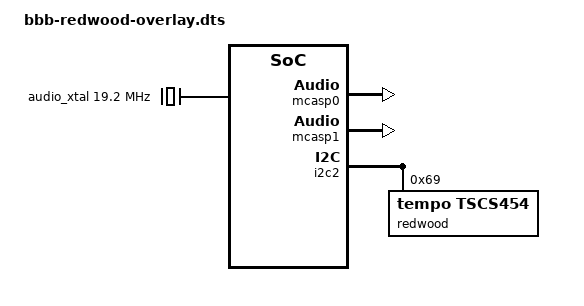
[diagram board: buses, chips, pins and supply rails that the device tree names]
// Definitions for the Tempo Semiconductor tscs454 audio codec
/dts-v1/;
/plugin/;

#include <dt-bindings/pinctrl/am33xx.h>

/ {
	compatible = "ti,beaglebone", "ti,beaglebone-black";

	fragment@0 {
		target = <&am33xx_pinmux>;
		__overlay__ {
			mcasp0_pins: mcasp0_pins {
				pinctrl-single,pins = <
					/* mcasp0_aclkx.mcasp0_aclkx (BCLK) A13,P9.31 */
					AM33XX_IOPAD(0x990, PIN_INPUT_PULLDOWN | MUX_MODE0)
					/* mcasp0_fsx.mcasp0_fsx (LRCLK) B13,P9.29 */
					AM33XX_IOPAD(0x994, PIN_INPUT_PULLDOWN | MUX_MODE0)
					/* mcasp0_ahclkr.mcasp0_axr2 (TX Data) C12,P9.28 */
					AM33XX_IOPAD(0x99c, PIN_OUTPUT_PULLDOWN | MUX_MODE2)
					/* mcasp0_axr0.mcasp0_axr0 (RX Data) D12,P9.30 */
					AM33XX_IOPAD(0x998, PIN_INPUT_PULLDOWN | MUX_MODE0)>;
			};
			
			mcasp1_pins: mcasp1_pins {
				pinctrl-single,pins = <
					/* mcasp0_aclkr.mcasp1_aclkx (BCLK) B12,P9.42 */
					AM33XX_IOPAD(0x9a0, PIN_INPUT | MUX_MODE3)
					/* mcasp0_fsr.mcasp1_fsx (LRCLK)  C13,P9.27 */
					AM33XX_IOPAD(0x9a4, PIN_INPUT | MUX_MODE3)
					/* mcasp0_ahclkx.mcasp1_axr1 (TX Data) A14,P9.25  */
					AM33XX_IOPAD(0x9ac, PIN_OUTPUT_PULLDOWN | MUX_MODE3)>;
			};
		};
	};

	fragment@1 {
		target = <&mcasp0>;
		__overlay__ {
			#sound-dai-cells = <0>;
			pinctrl-names = "default";
			pinctrl-0 = <&mcasp0_pins>;
			status = "okay";
			op-mode = <0>;	/* MCASP_IIS_MODE */
			tdm-slots = <2>;
			serial-dir = <2 0 1 0>; /* 0: INACTIVE, 1: TX, 2: RX */
			tx-num-evt = <32>;
			rx-num-evt = <32>;
		};
	};

	fragment@2 {
		target = <&mcasp1>;
		__overlay__ {
			#sound-dai-cells = <0>;
			pinctrl-names = "default";
			pinctrl-0 = <&mcasp1_pins>;
			status = "okay";
			op-mode = <0>;	/* MCASP_IIS_MODE */
			tdm-slots = <2>;
			serial-dir = <0 1 0 0>; /* 0: INACTIVE, 1: TX, 2: RX */
			tx-num-evt = <32>;
			rx-num-evt = <32>;
		};
	};

	fragment@3 {
		target = <&i2c2>;
		__overlay__ {
			#address-cells = <1>;
			#size-cells = <0>;
			status = "okay";

			redwood: codec@69 {
				#sound-dai-cells = <1>;
				compatible = "tempo,tscs454";
				reg = <0x69>;
				/* SCL P9.19 */
				/* SDA P9.20 */
				clock-names = "mclk1";
				clocks = <&audio_xtal>;
				status = "okay";
			};
		};
	};

	fragment@4 {
		target-path = "/";
		__overlay__ {

			audio_xtal: xtal {
				#clock-cells = <0>;
				compatible = "fixed-clock";
				clock-frequency = <19200000>;
				status = "okay";
			};

			sound {
				compatible = "simple-audio-card";
				simple-audio-card,name = "Simple Redwood Card";

				simple-audio-card,dai-link@0 {
					format = "i2s";
					bitclock-master = <&dailink0_master>;
					frame-master = <&dailink0_master>;
					widgets =
						"Headphone", "Headphone",
						"Microphone", "Analog Mic",
						"Line", "Line In 2",
						"Line", "Line In 3",
						"Microphone", "Digital Mic 1",
						"Microphone", "Digital Mic 2";
					routing = 
						"Headphone", "Headphone Left",
						"Headphone", "Headphone Right",
						"Line In 1 Left", "Analog Mic",
						"Line In 1 Right", "Analog Mic",
						"Analog Mic", "Mic Bias 1",
						"Line In 2 Left", "Line In 2",
						"Line In 2 Right", "Line In 2",
						"Line In 3 Left", "Line In 3",
						"Line In 3 Right", "Line In 3",
						"DMic 1", "Digital Mic 1",
						"DMic 2", "Digital Mic 2";
					cpu {
						sound-dai = <&mcasp0>;
					};
					dailink0_master: codec {
						sound-dai = <&redwood 0>;
					};
				};

				simple-audio-card,dai-link@1 {
					format = "i2s";
					bitclock-master = <&dailink1_master>;
					frame-master = <&dailink1_master>;
					widgets =
						"Speaker", "Speaker";
					routing = 
						"Speaker", "Speaker Left",
						"Speaker", "Speaker Right";
					cpu {
						sound-dai = <&mcasp1>;
					};
					dailink1_master: codec {
						sound-dai = <&redwood 1>;
					};
				};
			};



		};
	};
};
